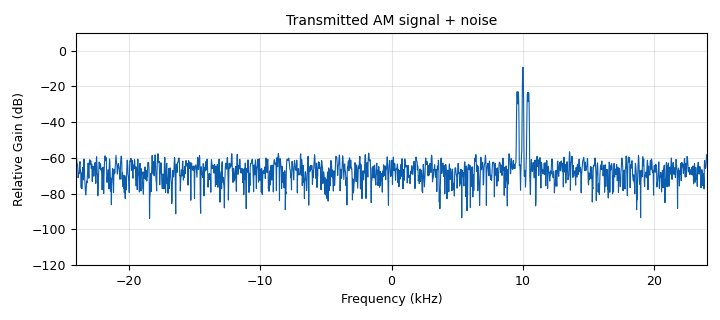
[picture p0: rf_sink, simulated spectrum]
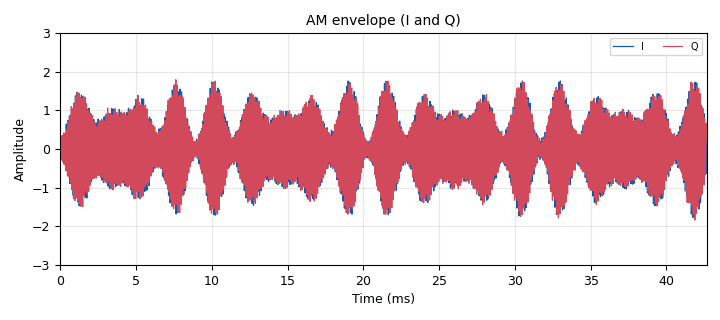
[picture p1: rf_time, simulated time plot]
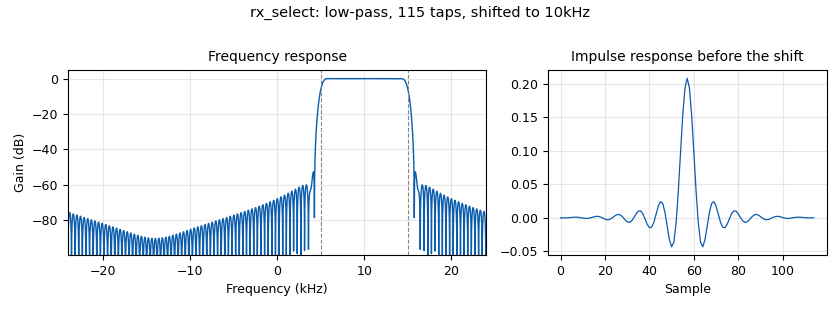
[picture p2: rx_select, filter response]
options:
  parameters:
    author: GNU Radio Intro Workshop
    description: Dial tone -> AM modulator -> noisy channel -> envelope detector -> soundcard
    generate_options: qt_gui
    generator_class_name: PythonQtGuiGenerator
    generator_module: gnuradio.grc.workflows.python_qt_gui
    id: am_loopback
    output_language: python
    title: AM Transmitter and Receiver
  states: {}

blocks:
- name: carrier
  id: variable_qtgui_range
  parameters:
    gui_hint: 0,1,1,1
    label: Transmit carrier (Hz)
    start: '-20000'
    step: '500'
    stop: '20000'
    value: '10000'
  states: {}
- name: mod_index
  id: variable_qtgui_range
  parameters:
    gui_hint: 0,0,1,1
    label: Modulation index
    start: '0'
    step: '0.05'
    stop: '1.5'
    value: '0.8'
  states: {}
- name: noise_amp
  id: variable_qtgui_range
  parameters:
    gui_hint: 1,0,1,1
    label: Channel noise
    start: '0'
    step: '0.01'
    stop: '1'
    value: '0.05'
  states: {}
- name: rx_tune
  id: variable_qtgui_range
  parameters:
    gui_hint: 1,1,1,1
    label: Receiver tuning (Hz)
    start: '-20000'
    step: '500'
    stop: '20000'
    value: '10000'
  states: {}
- name: samp_rate
  id: variable
  parameters:
    value: '48000'
  states: {}
- name: volume
  id: variable_qtgui_range
  parameters:
    gui_hint: 2,0,1,2
    label: Volume
    start: '0'
    step: '0.05'
    stop: '2'
    value: '0.5'
  states: {}
- name: audio_out
  id: audio_sink
  parameters:
    samp_rate: samp_rate
  states: {}
- name: carrier_osc
  id: analog_sig_source_x
  parameters:
    amp: '1'
    freq: carrier
    offset: '0'
    phase: '0'
    samp_rate: samp_rate
    type: complex
    waveform: analog.GR_COS_WAVE
  states: {}
- name: channel
  id: blocks_add_xx
  parameters:
    type: complex
  states: {}
- name: channel_noise
  id: analog_noise_source_x
  parameters:
    amp: noise_amp
    noise_type: analog.GR_GAUSSIAN
    seed: '0'
    type: complex
  states: {}
- name: dc_block
  id: dc_blocker_xx
  parameters:
    length: '128'
    long_form: 'True'
    type: ff
  states: {}
- name: envelope
  id: blocks_complex_to_mag
  parameters: {}
  states: {}
- name: index
  id: blocks_multiply_const_vxx
  parameters:
    const: mod_index
    type: float
  states: {}
- name: message
  id: blocks_add_xx
  parameters:
    type: float
  states: {}
- name: modulator
  id: blocks_multiply_xx
  parameters:
    type: complex
  states: {}
- name: plus_one
  id: blocks_add_const_vxx
  parameters:
    const: '1'
    type: float
  states: {}
- name: rf_sink
  id: qtgui_freq_sink_x
  parameters:
    bw: samp_rate
    fc: '0'
    fftsize: '2048'
    gui_hint: 3,0,1,1
    name: '"Transmitted AM signal + noise"'
    type: complex
    ymin: '-120'
  states: {}
- name: rf_time
  id: qtgui_time_sink_x
  parameters:
    gui_hint: 3,1,1,1
    label1: '"I"'
    label2: '"Q"'
    name: '"AM envelope (I and Q)"'
    size: '2048'
    srate: samp_rate
    type: complex
    ymax: '3'
    ymin: '-3'
  states: {}
- name: rx_select
  id: freq_xlating_fir_filter_xxx
  parameters:
    center_freq: rx_tune
    decim: '1'
    samp_rate: samp_rate
    taps: firdes.low_pass(1.0, samp_rate, 5e3, 1e3)
    type: ccc
  states: {}
- name: to_complex
  id: blocks_float_to_complex
  parameters: {}
  states: {}
- name: tone_350
  id: analog_sig_source_x
  parameters:
    amp: '0.5'
    freq: '350'
    offset: '0'
    phase: '0'
    samp_rate: samp_rate
    type: float
    waveform: analog.GR_COS_WAVE
  states: {}
- name: tone_440
  id: analog_sig_source_x
  parameters:
    amp: '0.5'
    freq: '440'
    offset: '0'
    phase: '0'
    samp_rate: samp_rate
    type: float
    waveform: analog.GR_COS_WAVE
  states: {}
- name: vol
  id: blocks_multiply_const_vxx
  parameters:
    const: volume
    type: float
  states: {}

connections:
- [carrier_osc, '0', modulator, '1']
- [channel, '0', rf_sink, '0']
- [channel, '0', rf_time, '0']
- [channel, '0', rx_select, '0']
- [channel_noise, '0', channel, '1']
- [dc_block, '0', vol, '0']
- [envelope, '0', dc_block, '0']
- [index, '0', plus_one, '0']
- [message, '0', index, '0']
- [modulator, '0', channel, '0']
- [plus_one, '0', to_complex, '0']
- [rx_select, '0', envelope, '0']
- [to_complex, '0', modulator, '0']
- [tone_350, '0', message, '0']
- [tone_440, '0', message, '1']
- [vol, '0', audio_out, '0']

metadata:
  file_format: 1
  grc_version: v3.11.0.0git-1029-g3c48f5e2
